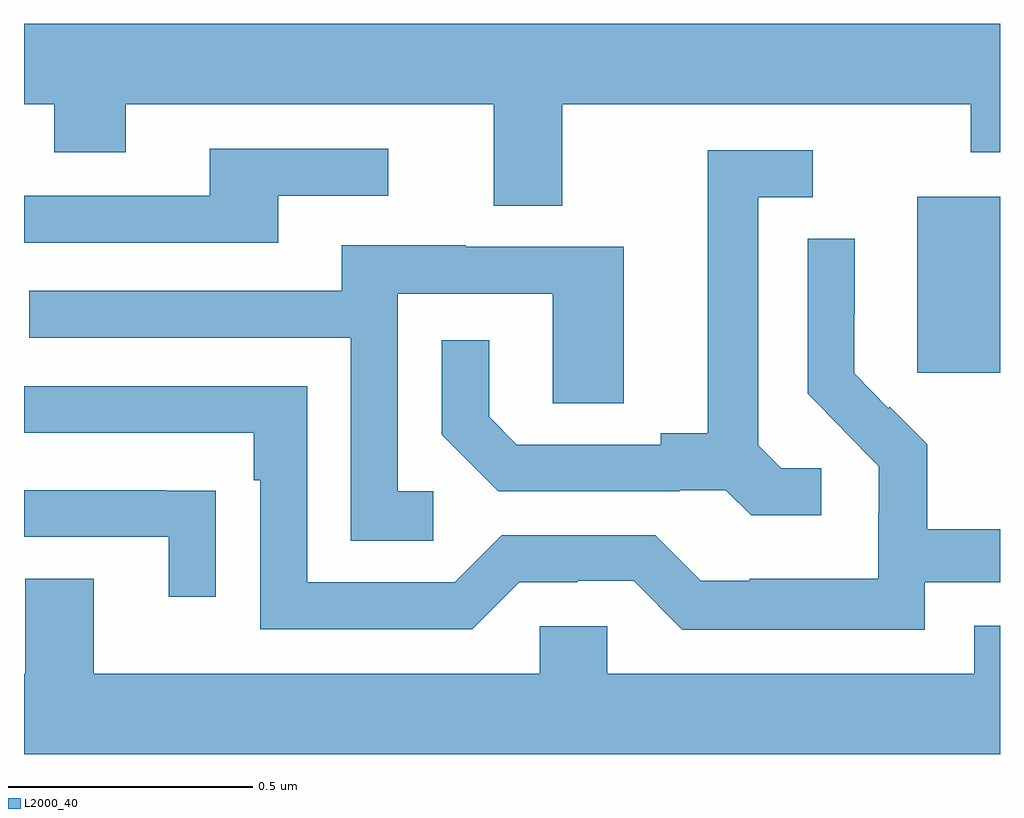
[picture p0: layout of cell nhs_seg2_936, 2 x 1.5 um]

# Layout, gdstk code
import gdstk
lib = gdstk.Library(unit=1e-6, precision=1e-09)
def R(c, l, rs):  # rectangles x0, y0, x1, y1
    for r in rs: c.add(gdstk.rectangle(r[:2], r[2:], *l))
def P(c, l, *ps):  # polygons
    for p in ps: c.add(gdstk.Polygon(p, *l))
L2000_40 = (2000, 40)

nhs_seg2_936 = lib.new_cell('nhs_seg2_936')
R(nhs_seg2_936, L2000_40, [(123.83,637.761,124,638.122)])
P(nhs_seg2_936, L2000_40, [(123.103,638.312),(123.94,638.312),(123.94,638.213),(124,638.213),(124,638.476),(122,638.476),(122,638.312),(122.062,638.312),(122.062,638.213),(122.209,638.213),(122.209,638.312),(122.963,638.312),(122.963,638.104),(123.103,638.104)],
  [(122.521,638.124),(122.746,638.124),(122.746,638.22),(122.381,638.22),(122.381,638.124),(122,638.124),(122,638.028),(122.521,638.028)],
  [(123.634,637.566),(123.552,637.566),(123.505,637.613),(123.505,638.121),(123.616,638.121),(123.616,638.217),(123.401,638.217),(123.401,637.637),(123.305,637.637),(123.305,637.614),(123.01,637.614),(122.953,637.671),(122.953,637.828),(122.856,637.828),(122.856,637.634),(122.972,637.518),(123.344,637.518),(123.344,637.521),(123.438,637.521),(123.49,637.469),(123.634,637.469)],
  [(123.846,637.332),(124,637.332),(124,637.441),(123.851,637.441),(123.851,637.615),(123.774,637.692),(123.771,637.689),(123.701,637.76),(123.701,637.882),(123.702,637.882),(123.702,638.036),(123.606,638.036),(123.606,637.718),(123.679,637.645),(123.678,637.644),(123.752,637.57),(123.752,637.473),(123.75,637.473),(123.75,637.339),(123.487,637.339),(123.487,637.335),(123.387,637.335),(123.294,637.428),(122.979,637.428),(122.883,637.332),(122.58,637.332),(122.58,637.734),(122,637.734),(122,637.638),(122.471,637.638),(122.471,637.541),(122.484,637.541),(122.484,637.236),(122.919,637.236),(123.015,637.332),(123.134,637.332),(123.134,637.335),(123.249,637.335),(123.349,637.235),(123.846,637.235)],
  [(122.839,637.518),(122.766,637.518),(122.766,637.923),(123.084,637.923),(123.084,637.699),(123.229,637.699),(123.229,638.019),(122.905,638.019),(122.905,638.023),(122.651,638.023),(122.651,637.929),(122.011,637.929),(122.011,637.833),(122.67,637.833),(122.67,637.417),(122.839,637.417)],
  [(122.393,637.52),(122.291,637.52),(122.291,637.521),(122,637.521),(122,637.425),(122.297,637.425),(122.297,637.302),(122.393,637.302)],
  [(124,637.243),(123.947,637.243),(123.947,637.144),(123.195,637.144),(123.195,637.242),(123.057,637.242),(123.057,637.144),(122.143,637.144),(122.143,637.339),(122.003,637.339),(122.003,637.144),(122,637.144),(122,636.98),(124,636.98)])

lib.write_gds('nhs_seg2_936.gds')
